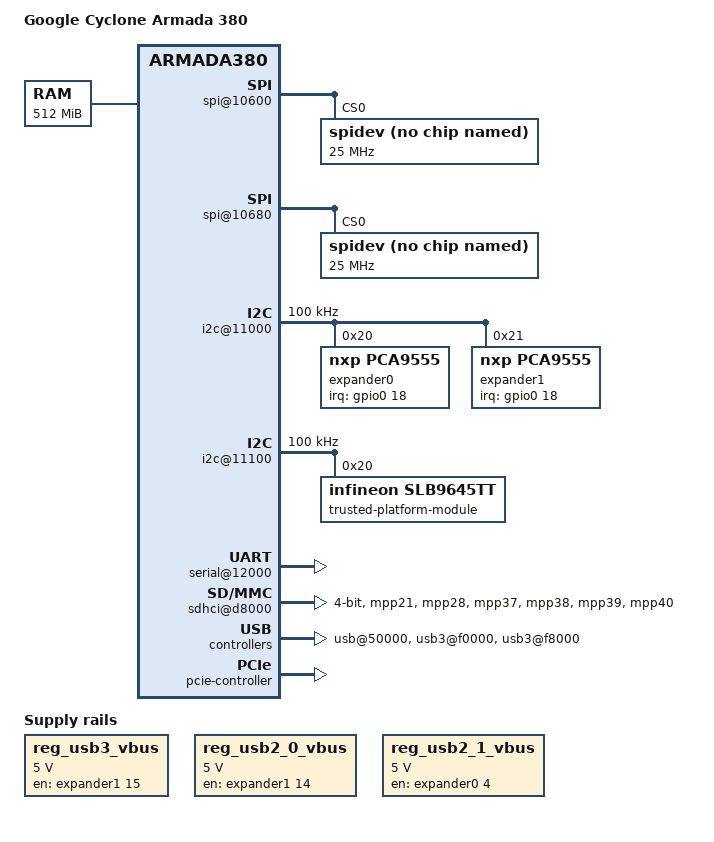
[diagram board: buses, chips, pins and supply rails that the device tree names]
/*
 * Device Tree file for Google Cyclone Armada 380 board
 *
 *  Copyright (C) 2015 Marvell
 *
 * Ruilin Hao <rlhao@marvell.com>
 *
 * This file is licensed under the terms of the GNU General Public
 * License version 2.  This program is licensed "as is" without any
 * warranty of any kind, whether express or implied.
 */

/dts-v1/;
#include "armada-380.dtsi"
#include <dt-bindings/gpio/gpio.h>

/ {
	model = "Google Cyclone Armada 380";
	compatible = "google,cyclone-proto1", "marvell,armada380";

	chosen {
		bootargs = "console=ttyS0,115200";
		stdout-path = &uart0;
	};

	memory {
		device_type = "memory";
		reg = <0x00000000 0x20000000>; /* 512 MB */
	};

	soc {
		ranges = <MBUS_ID(0xf0, 0x01) 0 0xf1000000 0x100000
			  MBUS_ID(0x01, 0x1d) 0 0xfff00000 0x100000>;

		internal-regs {
			pinctrl@18000 {
		                compatible = "marvell,mv88f6810-pinctrl";
			};
			spi@10600 {
				pinctrl-names = "default";
				pinctrl-0 = <&spi0_pins>;
				status = "okay";

				spidev@0 {
					compatible = "spidev";
					reg = <0>;
					spi-max-frequency = <25000000>;
				};
			};

			spi@10680 {
				pinctrl-names = "default";
				pinctrl-0 = <&spi1_pins>;
				status = "okay";

				spidev@0 {
					compatible = "spidev";
					reg = <0>;
					spi-max-frequency = <25000000>;
				};
			};

			i2c@11000 {
				pinctrl-names = "default";
				pinctrl-0 = <&i2c0_pins>;
				status = "okay";
				clock-frequency = <100000>;
				/*
				 * The EEPROM located at adresse 54 is needed
				 * for the boot - DO NOT ERASE IT -
				 */

				expander0: pca9555@20 {
					compatible = "nxp,pca9555";
					pinctrl-names = "default";
					pinctrl-0 = <&pca0_pins>;
					interrupt-parent = <&gpio0>;
					interrupts = <18 IRQ_TYPE_EDGE_FALLING>;
					gpio-controller;
					#gpio-cells = <2>;
					interrupt-controller;
					#interrupt-cells = <2>;
					reg = <0x20>;
				};

				expander1: pca9555@21 {
					compatible = "nxp,pca9555";
					pinctrl-names = "default";
					interrupt-parent = <&gpio0>;
					interrupts = <18 IRQ_TYPE_EDGE_FALLING>;
					gpio-controller;
					#gpio-cells = <2>;
					interrupt-controller;
					#interrupt-cells = <2>;
					reg = <0x21>;
				};
			};

			i2c@11100 {
				pinctrl-names = "default";
				pinctrl-0 = <&i2c1_pins>;
				status = "okay";
				clock-frequency = <100000>;

				trusted-platform-module {
					compatible = "infineon,slb9645tt";
					reg = <0x20>;
					powered-while-suspended;
				};
			};


			serial@12000 {
				/*
				 * Exported on the micro USB connector CON16
				 * through an FTDI
				 */
				pinctrl-names = "default";
				pinctrl-0 = <&uart0_pins>;
				status = "okay";
			};

			sdhci@d8000 {
                                pinctrl-names = "default";
				pinctrl-0 = <&sdhci_pins>;
				/*cd-gpios = <&expander0 5 GPIO_ACTIVE_LOW>;*/
				broken-cd;
				no-1-8-v;
				wp-inverted;
				bus-width = <8>;
				status = "okay";
			};

			/* CON4 */
			usb@50000 {
				vcc-supply = <&reg_usb2_0_vbus>;
				status = "okay";
			};

			/* CON5 */
			usb3@f0000 {
				vcc-supply = <&reg_usb2_1_vbus>;
				status = "okay";
			};

			/* CON7 */
			usb3@f8000 {
				vcc-supply = <&reg_usb3_vbus>;
				status = "okay";
			};

			sdhci@d8000 {
				no-1-8-v;
				bus-width = <4>;
				status = "okay";
			};
		};

		pcie-controller {
			status = "okay";
			/*
			 * The two other PCIe units are accessible
			 * through mini PCIe slot on the board.
			 */
			pcie@1,0 {
				/* Port 0, Lane 0 */
				status = "okay";
				mwlwifi {
                                        marvell,2ghz = <0x0>;
                                        marvell,chainmask = <0x2 0x2>;
                                };
			};

			pcie@4,0 {
				/* Port 3, Lane 0 */
				status = "okay";
				mwlwifi {
                                        marvell,5ghz = <0x0>;
                                        marvell,chainmask = <0x2 0x2>;
                                };
			};
		};
	};

	reg_usb3_vbus: usb3-vbus {
		compatible = "regulator-fixed";
		regulator-name = "usb3-vbus";
		regulator-min-microvolt = <5000000>;
		regulator-max-microvolt = <5000000>;
		enable-active-high;
		regulator-always-on;
		gpio = <&expander1 15 GPIO_ACTIVE_HIGH>;
	};

	reg_usb2_0_vbus: v5-vbus0 {
		compatible = "regulator-fixed";
		regulator-name = "v5.0-vbus0";
		regulator-min-microvolt = <5000000>;
		regulator-max-microvolt = <5000000>;
		enable-active-high;
		regulator-always-on;
		gpio = <&expander1 14 GPIO_ACTIVE_HIGH>;
	};

	reg_usb2_1_vbus: v5-vbus1 {
		compatible = "regulator-fixed";
		regulator-name = "v5.0-vbus1";
		regulator-min-microvolt = <5000000>;
		regulator-max-microvolt = <5000000>;
		enable-active-high;
		regulator-always-on;
		gpio = <&expander0 4 GPIO_ACTIVE_HIGH>;
	};
};
&pinctrl {
	pca0_pins: pca0_pins {
	        marvell,pins = "mpp18";
	        marvell,function = "gpio";
	};

	sdhci_pins: sdhci-pins {
		marvell,pins = "mpp21", "mpp28","mpp37",
				"mpp38", "mpp39","mpp40";
		marvell,function = "sd0";
	};
};

